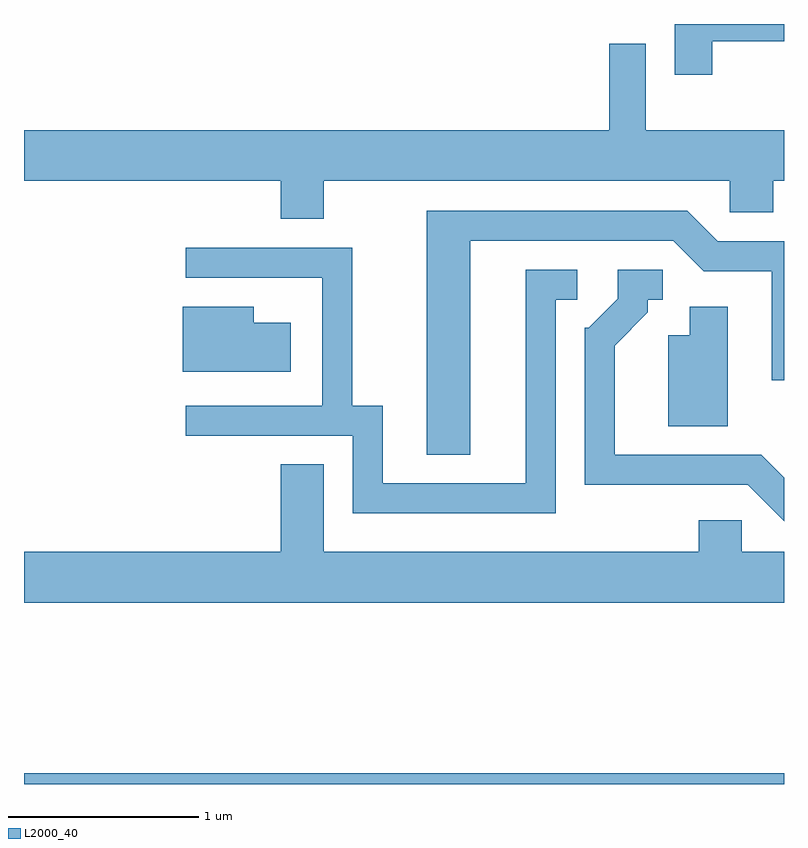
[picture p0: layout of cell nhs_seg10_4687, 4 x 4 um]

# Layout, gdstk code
import gdstk
lib = gdstk.Library(unit=1e-6, precision=1e-09)
def R(c, l, rs):  # rectangles x0, y0, x1, y1
    for r in rs: c.add(gdstk.rectangle(r[:2], r[2:], *l))
def P(c, l, *ps):  # polygons
    for p in ps: c.add(gdstk.Polygon(p, *l))
L2000_40 = (2000, 40)

nhs_seg10_4687 = lib.new_cell('nhs_seg10_4687')
R(nhs_seg10_4687, L2000_40, [(323.611,2108.522,327.611,2108.579)])
P(nhs_seg10_4687, L2000_40, [(327.234,2112.431),(327.611,2112.431),(327.611,2112.522),(327.036,2112.522),(327.036,2112.256),(327.234,2112.256)],
  [(325.189,2111.696),(327.326,2111.696),(327.326,2111.531),(327.554,2111.531),(327.554,2111.696),(327.611,2111.696),(327.611,2111.964),(326.884,2111.964),(326.884,2112.419),(326.691,2112.419),(326.691,2111.964),(323.611,2111.964),(323.611,2111.696),(324.961,2111.696),(324.961,2111.496),(325.189,2111.496)],
  [(325.959,2111.381),(327.029,2111.381),(327.189,2111.221),(327.546,2111.221),(327.546,2110.648),(327.611,2110.648),(327.611,2111.379),(327.262,2111.379),(327.102,2111.539),(325.731,2111.539),(325.731,2110.256),(325.959,2110.256)],
  [(326.409,2111.071),(326.523,2111.071),(326.523,2111.229),(326.251,2111.229),(326.251,2110.104),(325.499,2110.104),(325.499,2110.514),(325.339,2110.514),(325.339,2111.344),(324.463,2111.344),(324.463,2111.186),(325.181,2111.186),(325.181,2110.514),(324.463,2110.514),(324.463,2110.356),(325.341,2110.356),(325.341,2109.946),(326.409,2109.946)],
  [(327.611,2110.135),(327.492,2110.254),(326.719,2110.254),(326.719,2110.829),(326.894,2111.004),(326.894,2111.071),(326.973,2111.071),(326.973,2111.229),(326.736,2111.229),(326.736,2111.077),(326.584,2110.924),(326.561,2110.924),(326.561,2110.096),(327.419,2110.096),(327.611,2109.904)],
  [(325.014,2110.949),(324.819,2110.949),(324.819,2111.034),(324.446,2111.034),(324.446,2110.691),(325.014,2110.691)],
  [(327.314,2111.034),(327.116,2111.034),(327.116,2110.884),(327.001,2110.884),(327.001,2110.406),(327.314,2110.406)],
  [(327.611,2109.744),(327.389,2109.744),(327.389,2109.909),(327.161,2109.909),(327.161,2109.744),(325.189,2109.744),(325.189,2110.204),(324.961,2110.204),(324.961,2109.744),(323.611,2109.744),(323.611,2109.476),(327.611,2109.476)])

lib.write_gds('nhs_seg10_4687.gds')
